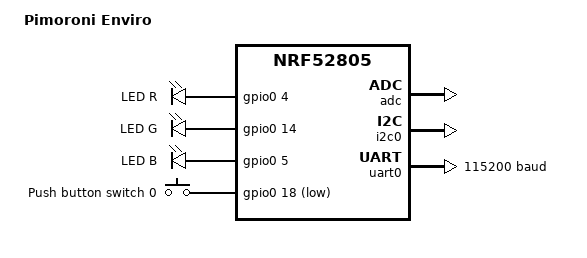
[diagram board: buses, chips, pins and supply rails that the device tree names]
/*
 * Copyright (c) 2020 Nordic Semiconductor ASA
 *
 * SPDX-License-Identifier: Apache-2.0
 */

/dts-v1/;
#include <nordic/nrf52805_caaa.dtsi>
#include "enviro_nrf52805-pinctrl.dtsi"
#include <zephyr/dt-bindings/input/input-event-codes.h>

/ {
	model = "Pimoroni Enviro";
	compatible = "pimoroni,pimoroni-enviro";

	chosen {
		zephyr,console = &uart0;
		zephyr,shell-uart = &uart0;
		zephyr,uart-mcumgr = &uart0;
		zephyr,bt-mon-uart = &uart0;
		zephyr,bt-c2h-uart = &uart0;
		zephyr,sram = &sram0;
		zephyr,flash = &flash0;
		zephyr,code-partition = &slot0_partition;
	};

	leds {
		compatible = "gpio-leds";
		ledR: led_R {
			gpios = <&gpio0 4 GPIO_ACTIVE_HIGH>;
			label = "LED R";
		};
		ledG: led_G {
			gpios = <&gpio0 14 GPIO_ACTIVE_HIGH>;
			label = "LED G";
		};
		ledB: led_B {
			gpios = <&gpio0 5 GPIO_ACTIVE_HIGH>;
			label = "LED B";
		};
	};

	buttons {
		compatible = "gpio-keys";
		button0: button_0 {
			label = "Push button switch 0";
			gpios = <&gpio0 18 (GPIO_PULL_UP | GPIO_ACTIVE_LOW)>;
			zephyr,code = <INPUT_KEY_0>;
		};
	};

	/* These aliases are provided for compatibility with samples */
	aliases {
		led0 = &ledR;
		led1 = &ledG;
		led2 = &ledB;
		sw0 = &button0;
		bootloader-led0 = &ledR;
		mcuboot-button0 = &button0;
		mcuboot-led0 = &ledG;
		watchdog0 = &wdt0;
	};
};

&reg {
	regulator-initial-mode = <NRF5X_REG_MODE_DCDC>;
};

&adc {
	status = "okay";
};

&uicr {
	gpio-as-nreset;
};

&gpio0 {
	status = "okay";
};

&gpiote {
	status = "okay";
};

&i2c0 {
	compatible = "nordic,nrf-twi";
	status = "okay";
	pinctrl-0 = <&i2c0_default>;
	pinctrl-1 = <&i2c0_sleep>;
	pinctrl-names = "default", "sleep";
};

&spi0 {
	status = "disabled";
};

&uart0 {
	compatible = "nordic,nrf-uarte";
	status = "okay";
	current-speed = <115200>;
	pinctrl-0 = <&uart0_default>;
	pinctrl-1 = <&uart0_sleep>;
	pinctrl-names = "default", "sleep";
};

&flash0 {
	partitions {
		compatible = "fixed-partitions";
		#address-cells = <1>;
		#size-cells = <1>;

		boot_partition: partition@0 {
			label = "mcuboot";
			reg = <0x00000000 0xc000>;
		};
		slot0_partition: partition@c000 {
			label = "image-0";
			reg = <0x0000C000 0xe000>;
		};
		slot1_partition: partition@1a000 {
			label = "image-1";
			reg = <0x0001a000 0xe000>;
		};
		storage_partition: partition@28000 {
			label = "storage";
			reg = <0x00028000 0x00008000>;
		};
	};
};
